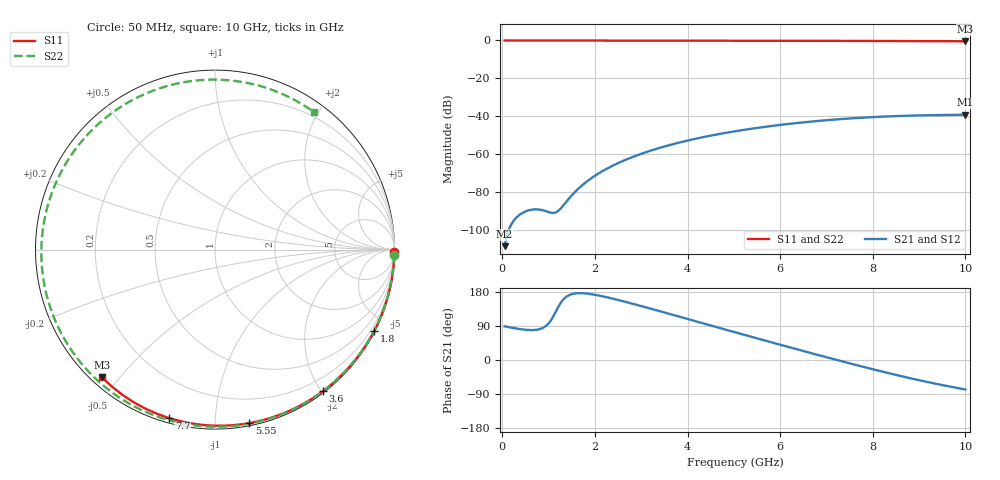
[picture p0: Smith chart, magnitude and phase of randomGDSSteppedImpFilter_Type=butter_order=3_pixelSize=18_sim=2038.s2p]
! freq	dB(S11)	phase(S11)	dB(S12)	phase(S12)
!  dB(S21)	phase(S21)	dB(S22)	phase(S22)
!S-par simulation data
#  GHz  S  DB  R 50
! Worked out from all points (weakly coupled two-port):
!   200 points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, 50 MHz to 10 GHz, reference 50 ohm
!   highest |S21| = -39.29 dB at 10 GHz (marker M1); lowest = -108.8 dB at 50 MHz (marker M2)
!   lowest |S11| = -0.4 dB at 10 GHz (marker M3), VSWR 39.08, Z = 1.54 - j22.5 ohm
!   |S11| at or under -10 dB: nowhere
!   |S22| runs from -0.5 to 0.0 dB; largest |S21 - S12| = 0
!   S11 on the Smith chart (normalised r, x): 50 MHz: open; 1.8 GHz: 0.04, -4.16; 3.6 GHz: 0.02, -2.01; 5.55 GHz: 0.02, -1.22; 7.7 GHz: 0.02, -0.76; 10 GHz: 0.03, -0.45
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0.05  -0.00 -0.8  -108.78 88.9  -108.78 88.9  -0.00 -1.7
0.75  -0.01 -11.4  -89.33 80.0  -89.33 80.0  -0.03 -25.2
1.55  -0.03 -23.3  -80.60 175.2  -80.60 175.2  -0.07 -51.4
1.75  -0.03 -26.3  -76.05 176.1  -76.05 176.1  -0.07 -57.8
1.8  -0.03 -27.0  -75.06 175.6  -75.06 175.6  -0.07 -59.4
2.1  -0.04 -31.4  -70.01 169.8  -70.01 169.8  -0.09 -68.8
2.5  -0.05 -37.2  -64.87 158.5  -64.87 158.5  -0.10 -81.0
2.95  -0.06 -43.7  -60.39 144.0  -60.39 144.0  -0.12 -94.4
3.4  -0.07 -50.0  -56.79 128.9  -56.79 128.9  -0.14 -107.5
3.6  -0.07 -52.8  -55.41 122.0  -55.41 122.0  -0.15 -113.2
4.35  -0.09 -63.0  -51.06 96.3  -51.06 96.3  -0.18 -134.2
5.05  -0.11 -72.3  -47.92 72.3  -47.92 72.3  -0.22 -153.5
5.55  -0.13 -78.8  -46.08 55.4  -46.08 55.4  -0.25 -167.3
6.15  -0.15 -86.4  -44.22 35.3  -44.22 35.3  -0.30 176.0
6.7  -0.18 -93.2  -42.82 17.1  -42.82 17.1  -0.34 160.2
7.2  -0.21 -99.2  -41.78 0.8  -41.78 0.8  -0.37 145.5
7.7  -0.24 -105.2  -40.94 -15.1  -40.94 -15.1  -0.41 130.2
8.35  -0.29 -112.8  -40.14 -34.9  -40.14 -34.9  -0.45 109.6
8.75  -0.32 -117.4  -39.80 -46.4  -39.80 -46.4  -0.46 96.4
9.15  -0.36 -121.9  -39.56 -57.3  -39.56 -57.3  -0.48 83.1
9.55  -0.40 -126.5  -39.39 -67.4  -39.39 -67.4  -0.49 69.5
10  -0.44 -131.5  -39.29 -77.7  -39.29 -77.7  -0.50 54.3
